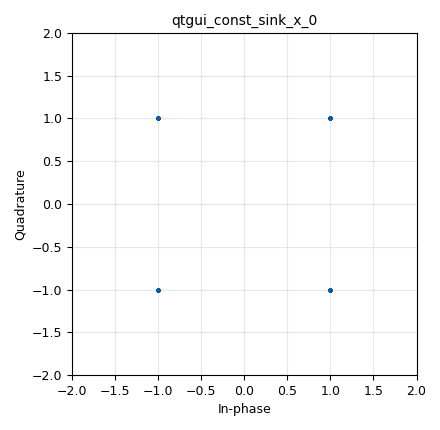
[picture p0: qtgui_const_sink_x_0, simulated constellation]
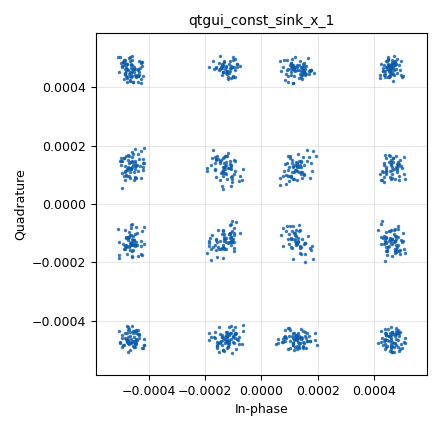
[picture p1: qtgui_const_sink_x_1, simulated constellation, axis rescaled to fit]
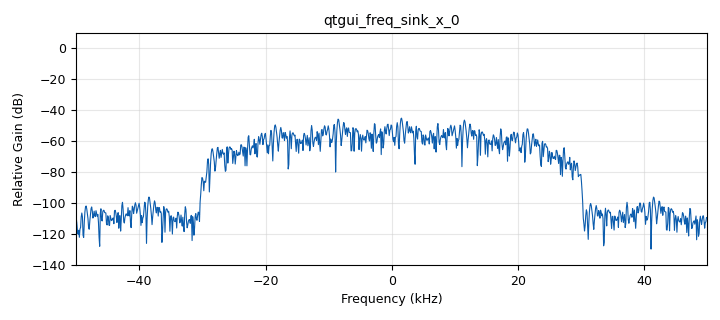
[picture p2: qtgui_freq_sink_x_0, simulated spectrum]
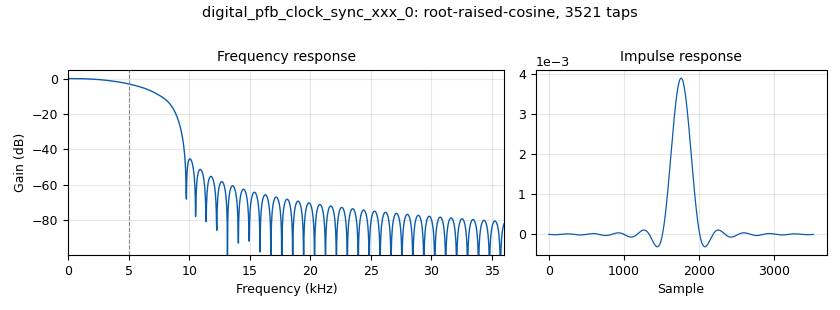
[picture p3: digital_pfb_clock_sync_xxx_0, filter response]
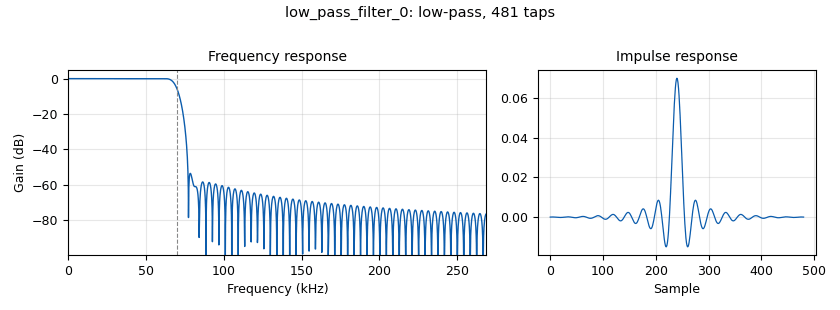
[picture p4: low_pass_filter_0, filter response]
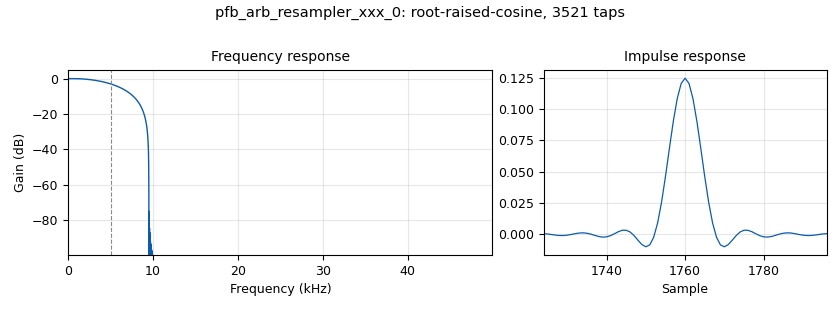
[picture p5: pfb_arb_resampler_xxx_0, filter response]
options:
  parameters:
    author: aditya
    generate_options: qt_gui
    id: equalizer_design
    output_language: python
    title: Not titled yet
  states: {}

blocks:
- name: quad_rate
  id: variable
  parameters:
    value: '2000000'
  states: {}
- name: sps
  id: variable
  parameters:
    value: '10'
  states: {}
- name: symb_rate
  id: variable
  parameters:
    value: '10000'
  states: {}
- name: analog_random_source_x_0
  id: analog_random_source_x
  parameters:
    max: '4'
    min: '0'
    num_samps: '1000'
    repeat: 'True'
    type: byte
  states: {}
- name: analog_sig_source_x_1
  id: analog_sig_source_x
  parameters:
    amp: '1'
    freq: '100000'
    offset: '0'
    phase: '0'
    samp_rate: quad_rate
    type: float
    waveform: analog.GR_COS_WAVE
  states: {}
- name: analog_sig_source_x_1_0
  id: analog_sig_source_x
  parameters:
    amp: '-1'
    freq: '100000'
    offset: '0'
    phase: '0'
    samp_rate: quad_rate
    type: float
    waveform: analog.GR_SIN_WAVE
  states: {}
- name: analog_sig_source_x_2
  id: analog_sig_source_x
  parameters:
    amp: '1'
    freq: '100000'
    offset: '0'
    phase: '0'
    samp_rate: quad_rate
    type: complex
    waveform: analog.GR_COS_WAVE
  states: {}
- name: blocks_add_xx_0
  id: blocks_add_xx
  parameters:
    type: float
  states: {}
- name: blocks_add_xx_1
  id: blocks_add_xx
  parameters:
    num_inputs: '5'
    type: complex
  states: {}
- name: blocks_complex_to_real_0
  id: blocks_complex_to_real
  parameters: {}
  states: {}
- name: blocks_delay_0
  id: blocks_delay
  parameters:
    delay: '200'
    type: float
  states: {}
- name: blocks_delay_1
  id: blocks_delay
  parameters:
    delay: '2'
    type: complex
  states: {}
- name: blocks_delay_1_0
  id: blocks_delay
  parameters:
    delay: '1'
    type: complex
  states: {}
- name: blocks_delay_1_0_0
  id: blocks_delay
  parameters:
    delay: '3'
    type: complex
  states: {}
- name: blocks_delay_1_0_0_0
  id: blocks_delay
  parameters:
    delay: '4'
    type: complex
  states: {}
- name: blocks_float_to_complex_0
  id: blocks_float_to_complex
  parameters: {}
  states: {}
- name: blocks_multiply_const_vxx_0
  id: blocks_multiply_const_vxx
  parameters:
    const: '0.5'
    type: float
  states: {}
- name: blocks_multiply_const_vxx_1
  id: blocks_multiply_const_vxx
  parameters:
    const: '-0.5'
    type: complex
  states: {}
- name: blocks_multiply_const_vxx_1_0
  id: blocks_multiply_const_vxx
  parameters:
    const: '0.25'
    type: complex
  states: {}
- name: blocks_multiply_const_vxx_1_0_0
  id: blocks_multiply_const_vxx
  parameters:
    const: '-0.125'
    type: complex
  states: {}
- name: blocks_multiply_const_vxx_1_0_0_0
  id: blocks_multiply_const_vxx
  parameters:
    const: '0.0625'
    type: complex
  states: {}
- name: blocks_multiply_xx_0
  id: blocks_multiply_xx
  parameters:
    type: complex
  states: {}
- name: blocks_multiply_xx_1
  id: blocks_multiply_xx
  parameters:
    type: float
  states: {}
- name: blocks_multiply_xx_1_0
  id: blocks_multiply_xx
  parameters:
    type: float
  states: {}
- name: blocks_throttle_0
  id: blocks_throttle
  parameters:
    samples_per_second: quad_rate
    type: float
  states: {}
- name: digital_chunks_to_symbols_xx_0
  id: digital_chunks_to_symbols_xx
  parameters:
    dimension: '1'
    in_type: byte
    out_type: complex
    symbol_table: (1+1j,-1+1j,-1-1j,1-1j)
  states: {}
- name: digital_pfb_clock_sync_xxx_0
  id: digital_pfb_clock_sync_xxx
  parameters:
    filter_size: '32'
    init_phase: '16'
    loop_bw: 2*3.141/100
    max_dev: '1.5'
    osps: '1'
    sps: sps
    taps: firdes.root_raised_cosine(1,32*sps*symb_rate,symb_rate,0.90,11*sps*32)
    type: ccf
  states: {}
- name: low_pass_filter_0
  id: low_pass_filter
  parameters:
    cutoff_freq: '70000'
    gain: '1'
    interp: '1'
    samp_rate: quad_rate
    type: interp_fir_filter_fff
    width: '10000'
    win: window.WIN_HAMMING
  states: {}
- name: low_pass_filter_0_0
  id: low_pass_filter
  parameters:
    cutoff_freq: '70000'
    gain: '1'
    interp: '1'
    samp_rate: quad_rate
    type: interp_fir_filter_fff
    width: '10000'
    win: window.WIN_HAMMING
  states: {}
- name: pfb_arb_resampler_xxx_0
  id: pfb_arb_resampler_xxx
  parameters:
    atten: '100'
    nfilts: '32'
    rrate: sps
    taps: firdes.root_raised_cosine(1,sps*symb_rate,symb_rate,0.90,11*sps*32)
    type: ccf
  states: {}
- name: plot
  id: qtgui_tab_widget
  parameters:
    label0: Tab 0
    label1: Tab 1
    num_tabs: '2'
  states: {}
- name: qtgui_const_sink_x_0
  id: qtgui_const_sink_x
  parameters:
    gui_hint: plot@0
    size: '1024'
    type: complex
  states: {}
- name: qtgui_const_sink_x_1
  id: qtgui_const_sink_x
  parameters:
    gui_hint: plot@1
    size: '1024'
    type: complex
  states: {}
- name: qtgui_freq_sink_x_0
  id: qtgui_freq_sink_x
  parameters:
    bw: sps*symb_rate
    fc: '0'
    fftsize: '1024'
    type: complex
  states: {}
- name: rational_resampler_xxx_0
  id: rational_resampler_xxx
  parameters:
    decim: symb_rate*sps
    interp: quad_rate
    type: ccc
  states: {}
- name: rational_resampler_xxx_1
  id: rational_resampler_xxx
  parameters:
    decim: quad_rate
    interp: symb_rate*sps
    type: ccc
  states: {}
- name: virtual_sink_0
  id: virtual_sink
  parameters:
    stream_id: mod_stream
  states: {}
- name: virtual_sink_1
  id: virtual_sink
  parameters:
    stream_id: demod_stream
  states: {}
- name: virtual_source_0
  id: virtual_source
  parameters:
    stream_id: mod_stream
  states: {}
- name: virtual_source_1
  id: virtual_source
  parameters:
    stream_id: demod_stream
  states: {}

connections:
- [analog_random_source_x_0, '0', digital_chunks_to_symbols_xx_0, '0']
- [analog_sig_source_x_1, '0', blocks_multiply_xx_1, '0']
- [analog_sig_source_x_1_0, '0', blocks_multiply_xx_1_0, '1']
- [analog_sig_source_x_2, '0', blocks_multiply_xx_0, '0']
- [blocks_add_xx_0, '0', blocks_multiply_xx_1, '1']
- [blocks_add_xx_0, '0', blocks_multiply_xx_1_0, '0']
- [blocks_add_xx_1, '0', qtgui_const_sink_x_1, '0']
- [blocks_complex_to_real_0, '0', blocks_throttle_0, '0']
- [blocks_delay_0, '0', blocks_multiply_const_vxx_0, '0']
- [blocks_delay_1, '0', blocks_multiply_const_vxx_1_0, '0']
- [blocks_delay_1_0, '0', blocks_multiply_const_vxx_1, '0']
- [blocks_delay_1_0_0, '0', blocks_multiply_const_vxx_1_0_0, '0']
- [blocks_delay_1_0_0_0, '0', blocks_multiply_const_vxx_1_0_0_0, '0']
- [blocks_float_to_complex_0, '0', rational_resampler_xxx_1, '0']
- [blocks_multiply_const_vxx_0, '0', blocks_add_xx_0, '0']
- [blocks_multiply_const_vxx_1, '0', blocks_add_xx_1, '1']
- [blocks_multiply_const_vxx_1_0, '0', blocks_add_xx_1, '2']
- [blocks_multiply_const_vxx_1_0_0, '0', blocks_add_xx_1, '3']
- [blocks_multiply_const_vxx_1_0_0_0, '0', blocks_add_xx_1, '4']
- [blocks_multiply_xx_0, '0', blocks_complex_to_real_0, '0']
- [blocks_multiply_xx_1, '0', low_pass_filter_0, '0']
- [blocks_multiply_xx_1_0, '0', low_pass_filter_0_0, '0']
- [blocks_throttle_0, '0', virtual_sink_0, '0']
- [digital_chunks_to_symbols_xx_0, '0', pfb_arb_resampler_xxx_0, '0']
- [digital_chunks_to_symbols_xx_0, '0', qtgui_const_sink_x_0, '0']
- [digital_pfb_clock_sync_xxx_0, '0', blocks_add_xx_1, '0']
- [digital_pfb_clock_sync_xxx_0, '0', blocks_delay_1, '0']
- [digital_pfb_clock_sync_xxx_0, '0', blocks_delay_1_0, '0']
- [digital_pfb_clock_sync_xxx_0, '0', blocks_delay_1_0_0, '0']
- [digital_pfb_clock_sync_xxx_0, '0', blocks_delay_1_0_0_0, '0']
- [low_pass_filter_0, '0', blocks_float_to_complex_0, '0']
- [low_pass_filter_0_0, '0', blocks_float_to_complex_0, '1']
- [pfb_arb_resampler_xxx_0, '0', qtgui_freq_sink_x_0, '0']
- [pfb_arb_resampler_xxx_0, '0', rational_resampler_xxx_0, '0']
- [rational_resampler_xxx_0, '0', blocks_multiply_xx_0, '1']
- [rational_resampler_xxx_1, '0', virtual_sink_1, '0']
- [virtual_source_0, '0', blocks_add_xx_0, '1']
- [virtual_source_0, '0', blocks_delay_0, '0']
- [virtual_source_1, '0', digital_pfb_clock_sync_xxx_0, '0']

metadata:
  file_format: 1
  grc_version: 3.9.8.0-rc1
